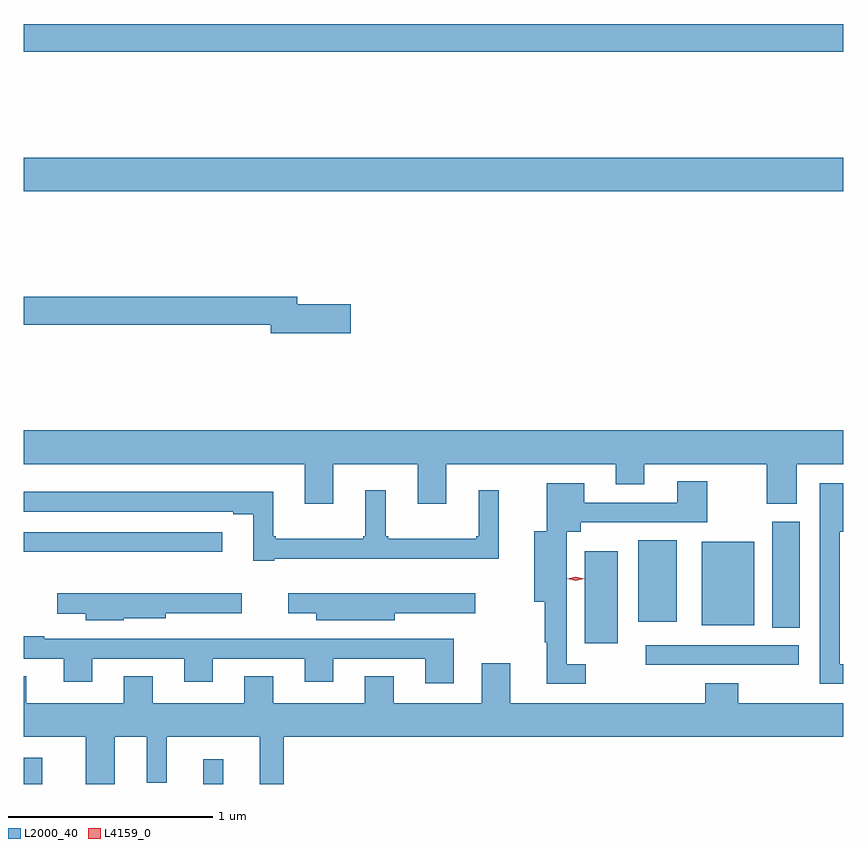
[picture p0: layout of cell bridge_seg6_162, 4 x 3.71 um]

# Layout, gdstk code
import gdstk
lib = gdstk.Library(unit=1e-6, precision=1e-09)
def R(c, l, rs):  # rectangles x0, y0, x1, y1
    for r in rs: c.add(gdstk.rectangle(r[:2], r[2:], *l))
def P(c, l, *ps):  # polygons
    for p in ps: c.add(gdstk.Polygon(p, *l))
L2000_40 = (2000, 40)
L4159_0 = (4159, 0)

bridge_seg6_162 = lib.new_cell('bridge_seg6_162')
R(bridge_seg6_162, L2000_40, [(591.488,968.418,591.577,968.545), (592.365,968.418,592.462,968.539), (594.525,969,595.27,969.096), (594.227,969.105,594.388,969.553), (595.142,969.181,595.276,969.697), (594.797,969.194,595.054,969.601), (594.488,969.209,594.676,969.607), (591.488,969.551,592.456,969.648), (591.488,971.312,595.488,971.476), (591.488,971.992,595.488,972.128)])
P(bridge_seg6_162, L2000_40, [(593.083,970.76),(592.822,970.76),(592.822,970.796),(591.488,970.796),(591.488,970.66),(592.694,970.66),(592.694,970.618),(593.083,970.618)],
  [(592.999,969.98),(593.411,969.98),(593.411,969.786),(593.551,969.786),(593.551,969.98),(594.377,969.98),(594.377,969.881),(594.517,969.881),(594.517,969.98),(595.114,969.98),(595.114,969.786),(595.261,969.786),(595.261,969.98),(595.488,969.98),(595.488,970.144),(591.488,970.144),(591.488,969.98),(592.859,969.98),(592.859,969.786),(592.999,969.786)],
  [(594.232,969.003),(594.138,969.003),(594.138,969.412),(594.139,969.412),(594.139,969.65),(594.208,969.65),(594.208,969.696),(594.825,969.696),(594.825,969.895),(594.677,969.895),(594.677,969.792),(594.223,969.792),(594.223,969.886),(594.041,969.886),(594.041,969.652),(593.981,969.652),(593.981,969.308),(594.03,969.308),(594.03,969.111),(594.041,969.111),(594.041,968.907),(594.232,968.907)],
  [(595.488,969.003),(595.47,969.003),(595.47,969.65),(595.488,969.65),(595.488,969.886),(595.374,969.886),(595.374,968.907),(595.488,968.907)],
  [(592.711,969.518),(593.806,969.518),(593.806,969.853),(593.708,969.853),(593.708,969.628),(593.697,969.628),(593.697,969.616),(593.266,969.616),(593.266,969.628),(593.254,969.628),(593.254,969.853),(593.156,969.853),(593.156,969.628),(593.145,969.628),(593.145,969.616),(592.717,969.616),(592.717,969.628),(592.705,969.628),(592.705,969.844),(591.488,969.844),(591.488,969.747),(592.511,969.747),(592.511,969.735),(592.607,969.735),(592.607,969.507),(592.711,969.507)],
  [(591.975,969.227),(592.182,969.227),(592.182,969.252),(592.552,969.252),(592.552,969.35),(592.082,969.35),(592.082,969.349),(591.651,969.349),(591.651,969.248),(591.791,969.248),(591.791,969.218),(591.975,969.218)],
  [(593.299,969.252),(593.692,969.252),(593.692,969.349),(592.779,969.349),(592.779,969.252),(592.916,969.252),(592.916,969.218),(593.299,969.218)],
  [(593.587,969.126),(591.587,969.126),(591.587,969.139),(591.488,969.139),(591.488,969.03),(591.683,969.03),(591.683,968.918),(591.823,968.918),(591.823,969.03),(592.271,969.03),(592.271,968.918),(592.411,968.918),(592.411,969.03),(592.859,969.03),(592.859,968.918),(592.999,968.918),(592.999,969.03),(593.447,969.03),(593.447,968.91),(593.587,968.91)],
  [(591.931,968.648),(592.088,968.648),(592.088,968.423),(592.187,968.423),(592.187,968.648),(592.64,968.648),(592.64,968.418),(592.757,968.418),(592.757,968.648),(595.488,968.648),(595.488,968.812),(594.975,968.812),(594.975,968.911),(594.815,968.911),(594.815,968.812),(593.863,968.812),(593.863,969.007),(593.723,969.007),(593.723,968.812),(593.293,968.812),(593.293,968.945),(593.153,968.945),(593.153,968.812),(592.705,968.812),(592.705,968.945),(592.565,968.945),(592.565,968.812),(592.117,968.812),(592.117,968.945),(591.977,968.945),(591.977,968.812),(591.499,968.812),(591.499,968.945),(591.488,968.945),(591.488,968.648),(591.791,968.648),(591.791,968.418),(591.931,968.418)])
P(bridge_seg6_162, L4159_0, [(594.183,969.41),(594.142,969.42),(594.142,969.42),(594.142,969.42),(594.183,969.43),(594.224,969.42),(594.224,969.42),(594.224,969.419)])

lib.write_gds('bridge_seg6_162.gds')
